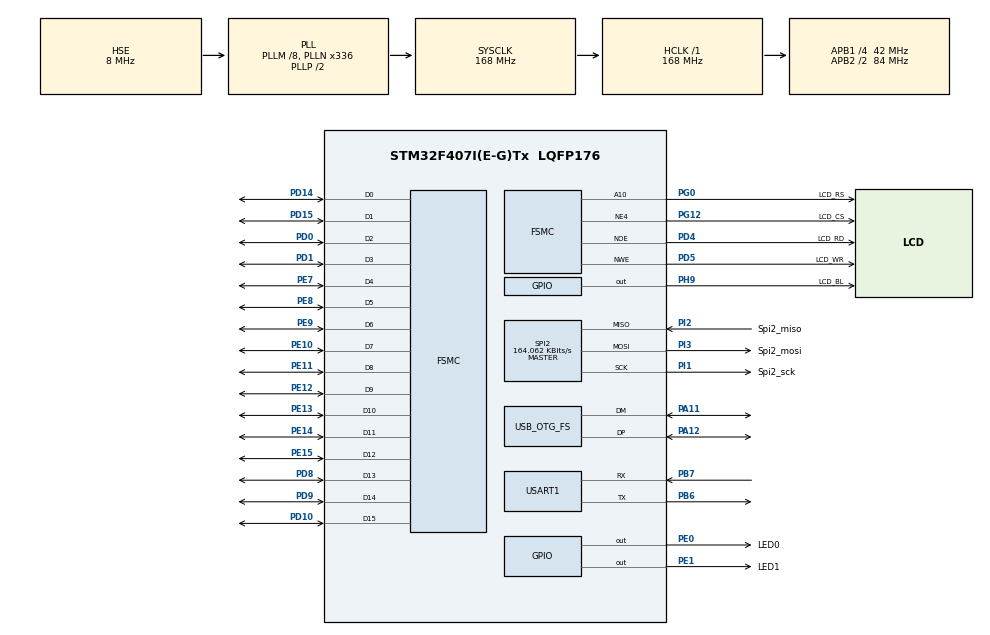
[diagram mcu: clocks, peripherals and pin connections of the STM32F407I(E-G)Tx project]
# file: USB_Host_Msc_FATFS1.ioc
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FSMC.AddressSetupTime1=0xf
FSMC.DataSetupTime1=60
FSMC.ExtendedAddressSetupTime1=9
FSMC.ExtendedDataSetupTime1=9
FSMC.ExtendedMode1=FSMC_EXTENDED_MODE_ENABLE
Mcu.Family=STM32F4
Mcu.Name=STM32F407I(E-G)Tx
Mcu.Package=LQFP176
NVIC.OTG_FS_IRQn=true\:1\:0\:true\:false\:true\:true
NVIC.PriorityGroup=NVIC_PRIORITYGROUP_2
PA11.Mode=Host_Only
PA11.Signal=USB_OTG_FS_DM
PA12.Mode=Host_Only
PA12.Signal=USB_OTG_FS_DP
PA13.Mode=Serial_Wire
PA13.Signal=SYS_JTMS-SWDIO
PA14.Mode=Serial_Wire
PA14.Signal=SYS_JTCK-SWCLK
PB6.Mode=Asynchronous
PB6.Signal=USART1_TX
PB7.Mode=Asynchronous
PB7.Signal=USART1_RX
PD0.Signal=FSMC_D2_DA2
PD1.Signal=FSMC_D3_DA3
PD10.Signal=FSMC_D15_DA15
PD14.Signal=FSMC_D0_DA0
PD15.Signal=FSMC_D1_DA1
PD4.GPIO_Label=LCD_RD
PD4.GPIO_PuPd=GPIO_PULLUP
PD4.Signal=FSMC_NOE
PD5.GPIO_Label=LCD_WR
PD5.GPIO_PuPd=GPIO_PULLUP
PD5.Signal=FSMC_NWE
PD8.Signal=FSMC_D13_DA13
PD9.Signal=FSMC_D14_DA14
PE0.GPIO_Label=LED0
PE0.GPIO_Speed=GPIO_SPEED_FREQ_HIGH
PE0.PinState=GPIO_PIN_SET
PE0.Signal=GPIO_Output
PE1.GPIO_Label=LED1
PE1.GPIO_Speed=GPIO_SPEED_FREQ_HIGH
PE1.PinState=GPIO_PIN_SET
PE1.Signal=GPIO_Output
PE10.Signal=FSMC_D7_DA7
PE11.Signal=FSMC_D8_DA8
PE12.Signal=FSMC_D9_DA9
PE13.Signal=FSMC_D10_DA10
PE14.Signal=FSMC_D11_DA11
PE15.Signal=FSMC_D12_DA12
PE7.Signal=FSMC_D4_DA4
PE8.Signal=FSMC_D5_DA5
PE9.Signal=FSMC_D6_DA6
PG0.GPIO_Label=LCD_RS
PG0.GPIO_PuPd=GPIO_PULLUP
PG0.Signal=FSMC_A10
PG12.GPIO_Label=LCD_CS
PG12.GPIO_PuPd=GPIO_PULLUP
PG12.Mode=NorPsramChipSelect4_1
PG12.Signal=FSMC_NE4
PH0-OSC_IN.Mode=HSE-External-Oscillator
PH0-OSC_IN.Signal=RCC_OSC_IN
PH1-OSC_OUT.Mode=HSE-External-Oscillator
PH1-OSC_OUT.Signal=RCC_OSC_OUT
PH9.GPIO_Label=LCD_BL
PH9.GPIO_Speed=GPIO_SPEED_FREQ_HIGH
PH9.PinState=GPIO_PIN_SET
PH9.Signal=GPIO_Output
PI1.GPIO_Label=Spi2_sck
PI1.GPIO_PuPd=GPIO_PULLUP
PI1.Mode=Full_Duplex_Master
PI1.Signal=SPI2_SCK
PI2.GPIO_Label=Spi2_miso
PI2.GPIO_PuPd=GPIO_PULLUP
PI2.Mode=Full_Duplex_Master
PI2.Signal=SPI2_MISO
PI3.GPIO_Label=Spi2_mosi
PI3.GPIO_PuPd=GPIO_PULLUP
PI3.Mode=Full_Duplex_Master
PI3.Signal=SPI2_MOSI
ProjectManager.HeapSize=0x200
ProjectManager.StackSize=0x400
ProjectManager.TargetToolchain=MDK-ARM V5
RCC.48MHZClocksFreq_Value=48000000
RCC.AHBFreq_Value=168000000
RCC.APB1CLKDivider=RCC_HCLK_DIV4
RCC.APB1Freq_Value=42000000
RCC.APB1TimFreq_Value=84000000
RCC.APB2CLKDivider=RCC_HCLK_DIV2
RCC.APB2Freq_Value=84000000
RCC.APB2TimFreq_Value=168000000
RCC.CortexFreq_Value=168000000
RCC.HCLKFreq_Value=168000000
RCC.HSE_VALUE=8000000
RCC.HSI_VALUE=16000000
RCC.LSE_VALUE=32768
RCC.PLLM=8
RCC.PLLN=336
RCC.PLLQ=7
RCC.SYSCLKFreq_VALUE=168000000
RCC.SYSCLKSource=RCC_SYSCLKSOURCE_PLLCLK
RCC.VCOOutputFreq_Value=336000000
SH.FSMC_A10.0=FSMC_A10,A10_1
SH.FSMC_D0_DA0.0=FSMC_D0,16b-d1
SH.FSMC_D10_DA10.0=FSMC_D10,16b-d1
SH.FSMC_D11_DA11.0=FSMC_D11,16b-d1
SH.FSMC_D12_DA12.0=FSMC_D12,16b-d1
SH.FSMC_D13_DA13.0=FSMC_D13,16b-d1
SH.FSMC_D14_DA14.0=FSMC_D14,16b-d1
SH.FSMC_D15_DA15.0=FSMC_D15,16b-d1
SH.FSMC_D1_DA1.0=FSMC_D1,16b-d1
SH.FSMC_D2_DA2.0=FSMC_D2,16b-d1
SH.FSMC_D3_DA3.0=FSMC_D3,16b-d1
SH.FSMC_D4_DA4.0=FSMC_D4,16b-d1
SH.FSMC_D5_DA5.0=FSMC_D5,16b-d1
SH.FSMC_D6_DA6.0=FSMC_D6,16b-d1
SH.FSMC_D7_DA7.0=FSMC_D7,16b-d1
SH.FSMC_D8_DA8.0=FSMC_D8,16b-d1
SH.FSMC_D9_DA9.0=FSMC_D9,16b-d1
SH.FSMC_NOE.0=FSMC_NOE,Lcd1
SH.FSMC_NWE.0=FSMC_NWE,Lcd1
SPI2.BaudRatePrescaler=SPI_BAUDRATEPRESCALER_256
SPI2.CLKPhase=SPI_PHASE_2EDGE
SPI2.CLKPolarity=SPI_POLARITY_HIGH
SPI2.CalculateBaudRate=164.062 KBits/s
SPI2.Direction=SPI_DIRECTION_2LINES
SPI2.Mode=SPI_MODE_MASTER
SPI2.VirtualType=VM_MASTER
USART1.VirtualMode=VM_ASYNC
USB_HOST.USBH_HandleTypeDef-MSC_FS=hUsbHostFS
USB_HOST.VirtualModeFS=Msc
USB_OTG_FS.VirtualMode=Host_Only
USB_OTG_FS.phy_itface=HCD_PHY_EMBEDDED
VP_USB_HOST_VS_USB_HOST_MSC_FS.Mode=MSC_FS
board=USB_Host_Msc_FATFS1

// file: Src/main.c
/**
  ******************************************************************************
  * @file           : main.c
  * @brief          : Main program body
  ******************************************************************************
  * This notice applies to any and all portions of this file
  * that are not between comment pairs USER CODE BEGIN and
  * USER CODE END. Other portions of this file, whether
  * inserted by the user or by software development tools
  * are owned by their respective copyright owners.
  *
  * Copyright (c) 2024 STMicroelectronics International N.V.
  * All rights reserved.
  *
  * Redistribution and use in source and binary forms, with or without
  * modification, are permitted, provided that the following conditions are met:
  *
  * 1. Redistribution of source code must retain the above copyright notice,
  *    this list of conditions and the following disclaimer.
  * 2. Redistributions in binary form must reproduce the above copyright notice,
  *    this list of conditions and the following disclaimer in the documentation
  *    and/or other materials provided with the distribution.
  * 3. Neither the name of STMicroelectronics nor the names of other
  *    contributors to this software may be used to endorse or promote products
  *    derived from this software without specific written permission.
  * 4. This software, including modifications and/or derivative works of this
  *    software, must execute solely and exclusively on microcontroller or
  *    microprocessor devices manufactured by or for STMicroelectronics.
  * 5. Redistribution and use of this software other than as permitted under
  *    this license is void and will automatically terminate your rights under
  *    this license.
  *
  * THIS SOFTWARE IS PROVIDED BY STMICROELECTRONICS AND CONTRIBUTORS "AS IS"
  * AND ANY EXPRESS, IMPLIED OR STATUTORY WARRANTIES, INCLUDING, BUT NOT
  * LIMITED TO, THE IMPLIED WARRANTIES OF MERCHANTABILITY, FITNESS FOR A
  * PARTICULAR PURPOSE AND NON-INFRINGEMENT OF THIRD PARTY INTELLECTUAL PROPERTY
  * RIGHTS ARE DISCLAIMED TO THE FULLEST EXTENT PERMITTED BY LAW. IN NO EVENT
  * SHALL STMICROELECTRONICS OR CONTRIBUTORS BE LIABLE FOR ANY DIRECT, INDIRECT,
  * INCIDENTAL, SPECIAL, EXEMPLARY, OR CONSEQUENTIAL DAMAGES (INCLUDING, BUT NOT
  * LIMITED TO, PROCUREMENT OF SUBSTITUTE GOODS OR SERVICES; LOSS OF USE, DATA,
  * OR PROFITS; OR BUSINESS INTERRUPTION) HOWEVER CAUSED AND ON ANY THEORY OF
  * LIABILITY, WHETHER IN CONTRACT, STRICT LIABILITY, OR TORT (INCLUDING
  * NEGLIGENCE OR OTHERWISE) ARISING IN ANY WAY OUT OF THE USE OF THIS SOFTWARE,
  * EVEN IF ADVISED OF THE POSSIBILITY OF SUCH DAMAGE.
  *
  ******************************************************************************
  */
#include "main.h"
#include "stm32f4xx_hal.h"
#include "spi.h"
#include "usart.h"
#include "usb_host.h"
#include "gpio.h"
#include "fsmc.h"

/* USER CODE BEGIN Includes */
#include "lcd.h"
#include "delay.h"

#include "usbh_def.h"  //USBH_HandleTypeDef

#include "norflash.h"
#include "usbh_core.h"
#include "usbh_msc.h"
#include "exfuns.h"

#include "btim.h"  //btim_timx_int_init
#include "fonts.h"  //
#include "text.h"
/* USER CODE END Includes */

/* USER CODE BEGIN PV */
/* Private variables ---------------------------------------------------------*/
//lcd
uint8_t lcd_id[12];
uint16_t colors[12] = {WHITE, BLACK, BLUE, RED, MAGENTA, GREEN, CYAN, YELLOW, BRRED, GRAY, LGRAY, BROWN};
uint8_t color_index = 0;

extern USBH_HandleTypeDef hUsbHostFS;    /* USB Host处理结构体 在usb_host.c中定义*/

uint8_t res = 0, t = 0;

uint8_t usb_mount_status = 0;               /* USB 挂载状态 */

uint8_t i, j;
uint8_t fontx[2];   /* GBK码 */
uint32_t fontcnt = 0;

extern TIM_HandleTypeDef timx_handler;      /* 定时器参数句柄 */
#define FONTSECSIZE         791
#define FONTINFOADDR        12 * 1024 * 1024
/* USER CODE END PV */

void SystemClock_Config(void);
void MX_USB_HOST_Process(void);

/* USER CODE BEGIN PFP */
/* Private function prototypes -----------------------------------------------*/

/* USER CODE END PFP */

/* USER CODE BEGIN 0 */
/**
 * @brief       USB HID重新连接
 * @param       无
 * @retval      无
 */
void usbh_hid_reconnect(void)
{
    /* 关闭之前的连接 */
    USBH_DeInit(&hUsbHostFS);       /* 复位USB HOST */

    /* 重新复位USB */
    RCC->AHB2RSTR |= 1 << 7;        /* USB OTG FS 复位 */
    delay_ms(5);
    RCC->AHB2RSTR &= ~(1 << 7);     /* 复位结束 */

    memset(&hUsbHostFS, 0, sizeof(hUsbHostFS)); /* 清零数据 */
    MX_USB_HOST_Init();
		//循环操作直到挂载u盘成功
		while(usb_mount_status==0)          /* 等待 USB 设备挂载完成 */
		{
				lcd_clear(WHITE);               /* 清屏 */
				lcd_show_string(30, 30, 200, 16, 16, "STM32", RED);
				lcd_show_string(30, 50, 200, 16, 16, "USB Connecting...", RED);
				USBH_Process(&hUsbHostFS);
				delay_ms(20);
				//delay_ms(200);
		}
}
void erase_gbk_sector(){
	uint32_t *buf = mymalloc(SRAMIN, 4096);                           /* 申请4K字节内存 */
	uint16_t i, j;
	for (i = 0; i < FONTSECSIZE; i++)           // 先擦除字库区域,提高写入速度
	{
			norflash_read((uint8_t *)buf, ((FONTINFOADDR / 4096) + i) * 4096, 4096);    // 读出整个扇区的内容

			for (j = 0; j < 1024; j++)              // 校验这个扇区的数据
			{
					if (buf[j] != 0xFFFFFFFF) break;    // 发现数据不为`0xFFFFFFFF`，则需要擦除该扇区
			}

			if (j != 1024)
			{
					norflash_erase_sector((FONTINFOADDR / 4096) + i); // 需要擦除的扇区
					//printf("norflash_erase_sector:%d\n", (FONTINFOADDR / 4096) + i);
			}
	}
	myfree(SRAMIN, buf);
}
/* USER CODE END 0 */

int main(void)
{

  /* MCU Configuration----------------------------------------------------------*/

  /* Reset of all peripherals, Initializes the Flash interface and the Systick. */
  HAL_Init();

  /* Configure the system clock */
  SystemClock_Config();

  /* Initialize all configured peripherals */
  MX_GPIO_Init();
  MX_USART1_UART_Init();
  MX_USB_HOST_Init();    //完成了：USBH_Init、USBH_RegisterClass、USBH_Start
  MX_FSMC_Init();
  MX_SPI2_Init();
  /* USER CODE BEGIN 2 */
	//lcd init
	delay_init(168);                    // 延时初始化
	lcd_init();                             // 初始化LCD
  sprintf((char *)lcd_id, "LCD ID:%04X", lcddev.id);  // 将LCD ID打印到lcd_id数组

	my_mem_init(SRAMIN);                /* 初始化内部SRAM内存池 */
	my_mem_init(SRAMCCM);               /* 初始化内部SRAMCCM内存池 */
	norflash_init();
	exfuns_init();                      /* 为fatfs相关变量申请内存 */

	lcd_show_string(30, 50, 200, 16, 16, "STM32", RED);
	lcd_show_string(30, 70, 200, 16, 16, "USB U Disk TEST", RED);
	lcd_show_string(30, 90, 200, 16, 16, "ATOM@ALIENTEK", RED);

	lcd_show_string(30, 110, 200, 16, 16, "USB Connecting...", RED);    // 提示USB开始连接

	//USBH_Init(&hUSBHost, USBH_UserProcess, HOST_FS);
	//USBH_RegisterClass(&hUSBHost, USBH_MSC_CLASS);
	//USBH_Start(&hUSBHost);

	delay_ms(1800);
  //btim_timx_int_init(1000, 840);      // 84 000 000 / 840 = 100 000 100Khz的计数频率，计数1000次为10ms
	//USBH_Process(&hUsbHostFS);
	//delay_ms(2800);
	btim_timx_int_init(1000, 840);  // 84 000 000 / 840 = 100 000 100Khz的计数频率，计数1000次为10ms
	//HAL_TIM_PeriodElapsedCallback中调用USBH_Process(&hUsbHostFS);

	//循环操作直到挂载u盘成功
	while(usb_mount_status==0)          // 等待 USB 设备挂载完成
	{
			lcd_clear(WHITE);               // 清屏
			lcd_show_string(30, 30, 200, 16, 16, "STM32", RED);
			lcd_show_string(30, 50, 200, 16, 16, "USB Connecting...", RED);
			//USBH_Process(&hUsbHostFS);
			delay_ms(20);
			//delay_ms(200);
	}

	//erase_gbk_sector();  //清空norflash已有的字库
	printf("erased norflash charactor lib\n");
	while (fonts_init())                // 检查字库
	{
			printf("update font\r\n");
			usb_mount_status=0;
			lcd_clear(WHITE);               // 清屏

			MX_USB_HOST_Init();
			delay_ms(1800);
			btim_timx_int_init(1000, 840);  /* 84 000 000 / 840 = 100 000 100Khz的计数频率，计数1000次为10ms */

			//循环操作直到挂载u盘成功
			while(usb_mount_status==0)          // 等待 USB 设备挂载完成
			{
					lcd_clear(WHITE);               // 清屏
					lcd_show_string(30, 30, 200, 16, 16, "STM32", RED);
					lcd_show_string(30, 50, 200, 16, 16, "USB Connecting...", RED);
					//USBH_Process(&hUsbHostFS);
					delay_ms(20);
					//delay_ms(200);
			}

			lcd_clear(WHITE);               // 清屏
			lcd_show_string(30, 30, 200, 16, 16, "STM32", RED);
			lcd_show_string(30, 50, 200, 16, 16, "Font Updating...", RED);
			//usbh_hid_reconnect();

			res = fonts_update_font(20, 90, 16, (uint8_t *)"1:", RED);  // 更新字库
			while (res)         // 更新失败
			{
					lcd_show_string(30, 90, 200, 16, 16, "Font Update Failed!", RED);
					delay_ms(200);
					lcd_fill(20, 90, 200 + 20, 90 + 16, WHITE);
					delay_ms(200);
			}
			TIM3->CR1&=~(1<<0);     // 关闭定时器3
			lcd_show_string(30, 90, 200, 16, 16, "Font Update Success!   ", RED);
			delay_ms(1500);
			lcd_clear(WHITE);   // 清屏
	}
	TIM3->CR1&=~(1<<0);     // 关闭定时器3

	lcd_clear(WHITE);       // 清屏
	text_show_string(30, 30, 200, 16, "正点原子STM32开发板", 16, 0, RED);
	text_show_string(30, 50, 200, 16, "GBK字库测试程序", 16, 0, RED);
	text_show_string(30, 70, 200, 16, "正点原子@ALIENTEK", 16, 0, RED);
	text_show_string(30, 90, 200, 16, "按KEY0,更新字库", 16, 0, RED);

	text_show_string(30, 110, 200, 16, "内码高字节:", 16, 0, BLUE);
	text_show_string(30, 130, 200, 16, "内码低字节:", 16, 0, BLUE);
	text_show_string(30, 150, 200, 16, "汉字计数器:", 16, 0, BLUE);

	text_show_string(30, 180, 200, 24, "对应汉字为:", 24, 0, BLUE);
	text_show_string(30, 204, 200, 16, "对应汉字(16*16)为:", 16, 0, BLUE);
	text_show_string(30, 220, 200, 16, "对应汉字(12*12)为:", 12, 0, BLUE);

  /* USER CODE END 2 */

  /* Infinite loop */
  /* USER CODE BEGIN WHILE */
  while (1)
  {

		for (i = 0x81; i < 0xff; i++)               // GBK内码高字节范围为0x81~0xFE
		{
				fontx[0] = i;
				lcd_show_num(118, 110, i, 3, 16, BLUE); // 显示内码高字节

				for (j = 0x40; j < 0xfe; j++)           // GBK内码低字节范围为 0x40~0x7E, 0x80~0xFE)
				{
						if (j == 0x7f)
								continue;

						fontcnt++;
						lcd_show_num(118, 130, j, 3, 16, BLUE);       // 显示内码低字节
						lcd_show_num(118, 150, fontcnt, 5, 16, BLUE); // 汉字计数显示
						fontx[1] = j;
						text_show_font(30 + 132, 180, fontx, 24, 0, BLUE);
						text_show_font(30 + 144, 204, fontx, 16, 0, BLUE);
						text_show_font(30 + 108, 220, fontx, 12, 0, BLUE);
						t = 200;

						HAL_GPIO_TogglePin(LED0_GPIO_Port, LED0_Pin);
						delay_ms(20);
				}
		}

		/*
		USBH_Process(&hUsbHostFS);
		delay_ms(10);
		t++;

		if (t == 50)
		{
				t = 0;
				HAL_GPIO_TogglePin(LED0_GPIO_Port, LED0_Pin);

		}
		*/
		//lcd test
		/*
		lcd_clear(colors[color_index]);  //清屏

		lcd_show_string(10, 40, 240, 32, 32, "STM32", RED);
		lcd_show_string(10, 80, 240, 24, 24, "TFTLCD TEST", RED);
		lcd_show_string(10, 110, 240, 16, 16, "ATOM@ALIENTEK", RED);
		lcd_show_string(10, 130, 240, 16, 16, (char *)lcd_id, RED); // 显示LCD ID
		color_index++;

		if (color_index == 12){
				color_index = 0;
		}
		HAL_GPIO_TogglePin(LED0_GPIO_Port, LED0_Pin); // LED0闪烁
		HAL_Delay(1000);
		*/

  /* USER CODE END WHILE */
    MX_USB_HOST_Process();

  }

}

void SystemClock_Config(void)
{

  RCC_OscInitTypeDef RCC_OscInitStruct;
  RCC_ClkInitTypeDef RCC_ClkInitStruct;

    /**Configure the main internal regulator output voltage
    */
  __HAL_RCC_PWR_CLK_ENABLE();

  __HAL_PWR_VOLTAGESCALING_CONFIG(PWR_REGULATOR_VOLTAGE_SCALE1);

    /**Initializes the CPU, AHB and APB busses clocks
    */
  RCC_OscInitStruct.OscillatorType = RCC_OSCILLATORTYPE_HSE;
  RCC_OscInitStruct.HSEState = RCC_HSE_ON;
  RCC_OscInitStruct.PLL.PLLState = RCC_PLL_ON;
  RCC_OscInitStruct.PLL.PLLSource = RCC_PLLSOURCE_HSE;
  RCC_OscInitStruct.PLL.PLLM = 8;
  RCC_OscInitStruct.PLL.PLLN = 336;
  RCC_OscInitStruct.PLL.PLLP = RCC_PLLP_DIV2;
  RCC_OscInitStruct.PLL.PLLQ = 7;
  if (HAL_RCC_OscConfig(&RCC_OscInitStruct) != HAL_OK)
  {
    _Error_Handler(__FILE__, __LINE__);
  }

    /**Initializes the CPU, AHB and APB busses clocks
    */
  RCC_ClkInitStruct.ClockType = RCC_CLOCKTYPE_HCLK|RCC_CLOCKTYPE_SYSCLK
                              |RCC_CLOCKTYPE_PCLK1|RCC_CLOCKTYPE_PCLK2;
  RCC_ClkInitStruct.SYSCLKSource = RCC_SYSCLKSOURCE_PLLCLK;
  RCC_ClkInitStruct.AHBCLKDivider = RCC_SYSCLK_DIV1;
  RCC_ClkInitStruct.APB1CLKDivider = RCC_HCLK_DIV4;
  RCC_ClkInitStruct.APB2CLKDivider = RCC_HCLK_DIV2;

  if (HAL_RCC_ClockConfig(&RCC_ClkInitStruct, FLASH_LATENCY_5) != HAL_OK)
  {
    _Error_Handler(__FILE__, __LINE__);
  }

    /**Configure the Systick interrupt time
    */
  HAL_SYSTICK_Config(HAL_RCC_GetHCLKFreq()/1000);

    /**Configure the Systick
    */
  HAL_SYSTICK_CLKSourceConfig(SYSTICK_CLKSOURCE_HCLK);

  /* SysTick_IRQn interrupt configuration */
  HAL_NVIC_SetPriority(SysTick_IRQn, 0, 0);
}

void _Error_Handler(char *file, int line)
{
  while(1)
  {
  }
}

/************************ (C) COPYRIGHT STMicroelectronics *****END OF FILE****/
